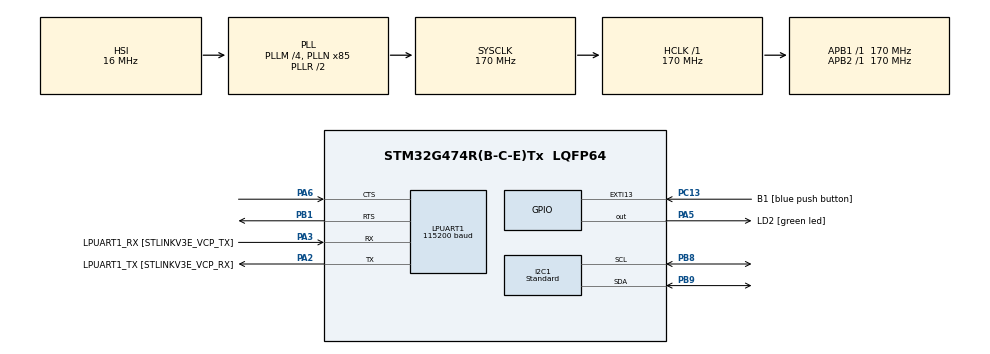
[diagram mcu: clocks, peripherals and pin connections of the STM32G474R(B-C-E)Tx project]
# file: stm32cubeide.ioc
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FREERTOS.Tasks01=defaultTask,24,1024,StartDefaultTask,Default,NULL,Dynamic,NULL,NULL
FREERTOS.configCHECK_FOR_STACK_OVERFLOW=2
FREERTOS.configMINIMAL_STACK_SIZE=512
FREERTOS.configTICK_RATE_HZ=1000
FREERTOS.configTOTAL_HEAP_SIZE=25534
FREERTOS.configUSE_MALLOC_FAILED_HOOK=1
FREERTOS.configUSE_NEWLIB_REENTRANT=1
I2C1.I2C_Speed_Mode=I2C_Standard
I2C1.Timing=0x30A0A7FB
LPUART1.BaudRate=115200
LPUART1.Parity=UART_PARITY_ODD
LPUART1.WordLength=UART_WORDLENGTH_9B
Mcu.Family=STM32G4
Mcu.Name=STM32G474R(B-C-E)Tx
Mcu.Package=LQFP64
NVIC.EXTI15_10_IRQn=true\:5\:0\:false\:false\:true\:true\:true\:true\:true
NVIC.I2C1_ER_IRQn=true\:5\:0\:false\:false\:true\:true\:true\:true\:true
NVIC.I2C1_EV_IRQn=true\:5\:0\:false\:false\:true\:true\:true\:true\:true
NVIC.LPUART1_IRQn=true\:5\:0\:false\:false\:true\:true\:true\:true\:true
NVIC.PriorityGroup=NVIC_PRIORITYGROUP_4
NVIC.TIM1_UP_TIM16_IRQn=true\:15\:0\:false\:false\:true\:false\:false\:true\:true
NVIC.TimeBase=TIM1_UP_TIM16_IRQn
NVIC.TimeBaseIP=TIM1
PA2.GPIO_Label=LPUART1_TX [STLINKV3E_VCP_RX]
PA2.Mode=Asynchronous
PA2.Signal=LPUART1_TX
PA3.GPIO_Label=LPUART1_RX [STLINKV3E_VCP_TX]
PA3.Mode=Asynchronous
PA3.Signal=LPUART1_RX
PA5.GPIO_Label=LD2 [green led]
PA5.Signal=GPIO_Output
PA6.Mode=CTS_RTS
PA6.Signal=LPUART1_CTS
PB1.Mode=CTS_RTS
PB1.Signal=LPUART1_RTS
PB8-BOOT0.GPIO_Pu=GPIO_NOPULL
PB8-BOOT0.GPIO_Speed=GPIO_SPEED_FREQ_HIGH
PB8-BOOT0.Mode=I2C
PB8-BOOT0.Signal=I2C1_SCL
PB9.GPIO_Pu=GPIO_NOPULL
PB9.GPIO_Speed=GPIO_SPEED_FREQ_HIGH
PB9.Mode=I2C
PB9.Signal=I2C1_SDA
PC13.GPIO_Label=B1 [blue push button]
PC13.GPIO_ModeDefaultEXTI=GPIO_MODE_IT_FALLING
PC13.Signal=GPXTI13
PC14-OSC32_IN.Mode=LSE-External-Oscillator
PC14-OSC32_IN.Signal=RCC_OSC32_IN
PC15-OSC32_OUT.Mode=LSE-External-Oscillator
PC15-OSC32_OUT.Signal=RCC_OSC32_OUT
PF0-OSC_IN.Mode=HSE-External-Oscillator
PF0-OSC_IN.Signal=RCC_OSC_IN
PF1-OSC_OUT.Mode=HSE-External-Oscillator
PF1-OSC_OUT.Signal=RCC_OSC_OUT
ProjectManager.HeapSize=0x200
ProjectManager.StackSize=0x400
ProjectManager.TargetToolchain=STM32CubeIDE
RCC.ADC12Freq_Value=170000000
RCC.ADC345Freq_Value=170000000
RCC.AHBFreq_Value=170000000
RCC.APB1Freq_Value=170000000
RCC.APB1TimFreq_Value=170000000
RCC.APB2Freq_Value=170000000
RCC.APB2TimFreq_Value=170000000
RCC.CortexFreq_Value=170000000
RCC.EXTERNAL_CLOCK_VALUE=12288000
RCC.HCLKFreq_Value=170000000
RCC.HSE_VALUE=24000000
RCC.HSI48_VALUE=48000000
RCC.HSI_VALUE=16000000
RCC.PLLM=RCC_PLLM_DIV4
RCC.PLLN=85
RCC.RTCClockSelection=RCC_RTCCLKSOURCE_LSE
RCC.SYSCLKFreq_VALUE=170000000
RCC.SYSCLKSource=RCC_SYSCLKSOURCE_PLLCLK
RCC.USBFreq_Value=170000000
RCC.VCOOutputFreq_Value=340000000
VP_CRC_VS_CRC.Mode=CRC_Activate
VP_FREERTOS_VS_CMSIS_V2.Mode=CMSIS_V2
VP_RTC_VS_RTC_Activate.Mode=RTC_Enabled
VP_RTC_VS_RTC_Calendar.Mode=RTC_Calendar
VP_SYS_VS_DBSignals.Mode=DisableDeadBatterySignals
VP_SYS_VS_tim1.Mode=TIM1
board=NUCLEO-G474RE

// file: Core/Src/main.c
/* USER CODE BEGIN Header */
/**
  ******************************************************************************
  * @file           : main.c
  * @brief          : Main program body
  ******************************************************************************
  * @attention
  *
  * Copyright (c) 2023 STMicroelectronics.
  * All rights reserved.
  *
  * This software is licensed under terms that can be found in the LICENSE file
  * in the root directory of this software component.
  * If no LICENSE file comes with this software, it is provided AS-IS.
  *
  ******************************************************************************
  */
/* USER CODE END Header */
#include "main.h"
#include "cmsis_os.h"

/* USER CODE BEGIN Includes */
#include "hhg/main.h"
#include "stm32g4xx/driver-lpuart.h"
#include "stm32g4xx_nucleo.h"

#include <stdlib.h>

/* USER CODE END Includes */

/* USER CODE BEGIN PM */
#ifdef __GNUC__
/* With GCC/RAISONANCE, small printf (option LD Linker->Libraries->Small printf
   set to 'Yes') calls __io_putchar() */
#define PUTCHAR_PROTOTYPE int __io_putchar(int ch)
#else
#define PUTCHAR_PROTOTYPE int fputc(int ch, FILE *f)
#endif /* __GNUC__ */
/* USER CODE END PM */

CRC_HandleTypeDef hcrc;

I2C_HandleTypeDef hi2c1;

UART_HandleTypeDef hlpuart1;

RTC_HandleTypeDef hrtc;

/* Definitions for defaultTask */
osThreadId_t defaultTaskHandle;
const osThreadAttr_t defaultTask_attributes = {
  .name = "defaultTask",
  .priority = (osPriority_t) osPriorityNormal,
  .stack_size = 1024 * 4
};

void SystemClock_Config(void);
static void MX_GPIO_Init(void);
static void MX_LPUART1_UART_Init(void);
static void MX_CRC_Init(void);
static void MX_RTC_Init(void);
static void MX_I2C1_Init(void);
void StartDefaultTask(void *argument);

/* USER CODE BEGIN 0 */
extern void osal_us_sleep(uint64_t us);
/* USER CODE END 0 */

int main(void)
{

  /* MCU Configuration--------------------------------------------------------*/

  /* Reset of all peripherals, Initializes the Flash interface and the Systick. */
  HAL_Init();

  /* Configure the system clock */
  SystemClock_Config();

  /* Initialize all configured peripherals */
  MX_GPIO_Init();
  MX_LPUART1_UART_Init();
  MX_CRC_Init();
  MX_RTC_Init();
  MX_I2C1_Init();
  /* USER CODE BEGIN 2 */
  BSP_LED_Init(LED2);
  driver_lpuart_register(&hlpuart1);

  //HAL_Delay(100);

//  i2cLcd_CreateHandle(&h_lcd, &hi2c1, 0x27 << 1);
//
//  i2cLcd_Init(&h_lcd);
//
//  i2cLcd_ClearDisplay(&h_lcd);

  /* USER CODE END 2 */

  /* Init scheduler */
  osKernelInitialize();

  /* Create the thread(s) */
  /* creation of defaultTask */
  defaultTaskHandle = osThreadNew(StartDefaultTask, NULL, &defaultTask_attributes);

  /* Start scheduler */
  HAL_Delay(1000);
  osKernelStart();

  /* We should never get here as control is now taken by the scheduler */
  /* Infinite loop */
  while (1)
  {

  }
}

void SystemClock_Config(void)
{
  RCC_OscInitTypeDef RCC_OscInitStruct = {0};
  RCC_ClkInitTypeDef RCC_ClkInitStruct = {0};

  /** Configure the main internal regulator output voltage
  */
  HAL_PWREx_ControlVoltageScaling(PWR_REGULATOR_VOLTAGE_SCALE1_BOOST);

  /** Configure LSE Drive Capability
  */
  HAL_PWR_EnableBkUpAccess();
  __HAL_RCC_LSEDRIVE_CONFIG(RCC_LSEDRIVE_LOW);

  /** Initializes the RCC Oscillators according to the specified parameters
  * in the RCC_OscInitTypeDef structure.
  */
  RCC_OscInitStruct.OscillatorType = RCC_OSCILLATORTYPE_HSI|RCC_OSCILLATORTYPE_LSE;
  RCC_OscInitStruct.LSEState = RCC_LSE_ON;
  RCC_OscInitStruct.HSIState = RCC_HSI_ON;
  RCC_OscInitStruct.HSICalibrationValue = RCC_HSICALIBRATION_DEFAULT;
  RCC_OscInitStruct.PLL.PLLState = RCC_PLL_ON;
  RCC_OscInitStruct.PLL.PLLSource = RCC_PLLSOURCE_HSI;
  RCC_OscInitStruct.PLL.PLLM = RCC_PLLM_DIV4;
  RCC_OscInitStruct.PLL.PLLN = 85;
  RCC_OscInitStruct.PLL.PLLP = RCC_PLLP_DIV2;
  RCC_OscInitStruct.PLL.PLLQ = RCC_PLLQ_DIV2;
  RCC_OscInitStruct.PLL.PLLR = RCC_PLLR_DIV2;
  if (HAL_RCC_OscConfig(&RCC_OscInitStruct) != HAL_OK)
  {
    Error_Handler();
  }

  /** Initializes the CPU, AHB and APB buses clocks
  */
  RCC_ClkInitStruct.ClockType = RCC_CLOCKTYPE_HCLK|RCC_CLOCKTYPE_SYSCLK
                              |RCC_CLOCKTYPE_PCLK1|RCC_CLOCKTYPE_PCLK2;
  RCC_ClkInitStruct.SYSCLKSource = RCC_SYSCLKSOURCE_PLLCLK;
  RCC_ClkInitStruct.AHBCLKDivider = RCC_SYSCLK_DIV1;
  RCC_ClkInitStruct.APB1CLKDivider = RCC_HCLK_DIV1;
  RCC_ClkInitStruct.APB2CLKDivider = RCC_HCLK_DIV1;

  if (HAL_RCC_ClockConfig(&RCC_ClkInitStruct, FLASH_LATENCY_4) != HAL_OK)
  {
    Error_Handler();
  }
}

static void MX_CRC_Init(void)
{

  hcrc.Instance = CRC;
  hcrc.Init.DefaultPolynomialUse = DEFAULT_POLYNOMIAL_ENABLE;
  hcrc.Init.DefaultInitValueUse = DEFAULT_INIT_VALUE_ENABLE;
  hcrc.Init.InputDataInversionMode = CRC_INPUTDATA_INVERSION_NONE;
  hcrc.Init.OutputDataInversionMode = CRC_OUTPUTDATA_INVERSION_DISABLE;
  hcrc.InputDataFormat = CRC_INPUTDATA_FORMAT_BYTES;
  if (HAL_CRC_Init(&hcrc) != HAL_OK)
  {
    Error_Handler();
  }

}

static void MX_I2C1_Init(void)
{

  hi2c1.Instance = I2C1;
  hi2c1.Init.Timing = 0x30A0A7FB;
  hi2c1.Init.OwnAddress1 = 0;
  hi2c1.Init.AddressingMode = I2C_ADDRESSINGMODE_7BIT;
  hi2c1.Init.DualAddressMode = I2C_DUALADDRESS_DISABLE;
  hi2c1.Init.OwnAddress2 = 0;
  hi2c1.Init.OwnAddress2Masks = I2C_OA2_NOMASK;
  hi2c1.Init.GeneralCallMode = I2C_GENERALCALL_DISABLE;
  hi2c1.Init.NoStretchMode = I2C_NOSTRETCH_DISABLE;
  if (HAL_I2C_Init(&hi2c1) != HAL_OK)
  {
    Error_Handler();
  }

  /** Configure Analogue filter
  */
  if (HAL_I2CEx_ConfigAnalogFilter(&hi2c1, I2C_ANALOGFILTER_ENABLE) != HAL_OK)
  {
    Error_Handler();
  }

  /** Configure Digital filter
  */
  if (HAL_I2CEx_ConfigDigitalFilter(&hi2c1, 0) != HAL_OK)
  {
    Error_Handler();
  }

}

static void MX_LPUART1_UART_Init(void)
{

  hlpuart1.Instance = LPUART1;
  hlpuart1.Init.BaudRate = 115200;
  hlpuart1.Init.WordLength = UART_WORDLENGTH_9B;
  hlpuart1.Init.StopBits = UART_STOPBITS_1;
  hlpuart1.Init.Parity = UART_PARITY_ODD;
  hlpuart1.Init.Mode = UART_MODE_TX_RX;
  hlpuart1.Init.HwFlowCtl = UART_HWCONTROL_RTS_CTS;
  hlpuart1.Init.OneBitSampling = UART_ONE_BIT_SAMPLE_DISABLE;
  hlpuart1.Init.ClockPrescaler = UART_PRESCALER_DIV1;
  hlpuart1.AdvancedInit.AdvFeatureInit = UART_ADVFEATURE_NO_INIT;
  if (HAL_UART_Init(&hlpuart1) != HAL_OK)
  {
    Error_Handler();
  }
  if (HAL_UARTEx_SetTxFifoThreshold(&hlpuart1, UART_TXFIFO_THRESHOLD_1_8) != HAL_OK)
  {
    Error_Handler();
  }
  if (HAL_UARTEx_SetRxFifoThreshold(&hlpuart1, UART_RXFIFO_THRESHOLD_1_8) != HAL_OK)
  {
    Error_Handler();
  }
  if (HAL_UARTEx_DisableFifoMode(&hlpuart1) != HAL_OK)
  {
    Error_Handler();
  }

}

static void MX_RTC_Init(void)
{

  RTC_TimeTypeDef sTime = {0};
  RTC_DateTypeDef sDate = {0};

  /** Initialize RTC Only
  */
  hrtc.Instance = RTC;
  hrtc.Init.HourFormat = RTC_HOURFORMAT_24;
  hrtc.Init.AsynchPrediv = 127;
  hrtc.Init.SynchPrediv = 255;
  hrtc.Init.OutPut = RTC_OUTPUT_DISABLE;
  hrtc.Init.OutPutRemap = RTC_OUTPUT_REMAP_NONE;
  hrtc.Init.OutPutPolarity = RTC_OUTPUT_POLARITY_HIGH;
  hrtc.Init.OutPutType = RTC_OUTPUT_TYPE_OPENDRAIN;
  hrtc.Init.OutPutPullUp = RTC_OUTPUT_PULLUP_NONE;
  if (HAL_RTC_Init(&hrtc) != HAL_OK)
  {
    Error_Handler();
  }

  /** Initialize RTC and set the Time and Date
  */
  sTime.Hours = 0x0;
  sTime.Minutes = 0x0;
  sTime.Seconds = 0x0;
  sTime.SubSeconds = 0x0;
  sTime.DayLightSaving = RTC_DAYLIGHTSAVING_NONE;
  sTime.StoreOperation = RTC_STOREOPERATION_RESET;
  if (HAL_RTC_SetTime(&hrtc, &sTime, RTC_FORMAT_BCD) != HAL_OK)
  {
    Error_Handler();
  }
  sDate.WeekDay = RTC_WEEKDAY_MONDAY;
  sDate.Month = RTC_MONTH_JANUARY;
  sDate.Date = 0x1;
  sDate.Year = 0x0;

  if (HAL_RTC_SetDate(&hrtc, &sDate, RTC_FORMAT_BCD) != HAL_OK)
  {
    Error_Handler();
  }

}

static void MX_GPIO_Init(void)
{
  GPIO_InitTypeDef GPIO_InitStruct = {0};

  /* GPIO Ports Clock Enable */
  __HAL_RCC_GPIOC_CLK_ENABLE();
  __HAL_RCC_GPIOF_CLK_ENABLE();
  __HAL_RCC_GPIOA_CLK_ENABLE();
  __HAL_RCC_GPIOB_CLK_ENABLE();

  /*Configure GPIO pin Output Level */
  HAL_GPIO_WritePin(LD2_GPIO_Port, LD2_Pin, GPIO_PIN_RESET);

  /*Configure GPIO pin : B1_Pin */
  GPIO_InitStruct.Pin = B1_Pin;
  GPIO_InitStruct.Mode = GPIO_MODE_IT_FALLING;
  GPIO_InitStruct.Pull = GPIO_NOPULL;
  HAL_GPIO_Init(B1_GPIO_Port, &GPIO_InitStruct);

  /*Configure GPIO pin : LD2_Pin */
  GPIO_InitStruct.Pin = LD2_Pin;
  GPIO_InitStruct.Mode = GPIO_MODE_OUTPUT_PP;
  GPIO_InitStruct.Pull = GPIO_NOPULL;
  GPIO_InitStruct.Speed = GPIO_SPEED_FREQ_LOW;
  HAL_GPIO_Init(LD2_GPIO_Port, &GPIO_InitStruct);

  /* EXTI interrupt init*/
  HAL_NVIC_SetPriority(EXTI15_10_IRQn, 5, 0);
  HAL_NVIC_EnableIRQ(EXTI15_10_IRQn);

}

/* USER CODE BEGIN 4 */
/**
  * @brief  Retargets the C library printf function to the USART.
  * @param  None
  * @retval None
  */
PUTCHAR_PROTOTYPE
{
	/* Place your implementation of fputc here */
	/* e.g. write a character to the USART1 and Loop until the end of transmission */
	driver_lpuart_transmit((uint8_t *)&ch, 1);
	return ch;
}
/* USER CODE END 4 */

void StartDefaultTask(void *argument)
{
  /* USER CODE BEGIN 5 */
	if(hhg_main() == EXIT_FAILURE)
	{
		Error_Handler();
	}

//	while(1)
//	{
//		vTaskDelay(250 / portTICK_PERIOD_MS);
//	}
	vTaskDelete(NULL);
  /* USER CODE END 5 */
}

void HAL_TIM_PeriodElapsedCallback(TIM_HandleTypeDef *htim)
{
  if (htim->Instance == TIM1) {
    HAL_IncTick();
  }
}

void Error_Handler(void)
{
  /* USER CODE BEGIN Error_Handler_Debug */
  /* User can add his own implementation to report the HAL error return state */
  __disable_irq();
  while (1)
  {
		BSP_LED_Toggle(LED2);
		HAL_Delay(250);
  }
  /* USER CODE END Error_Handler_Debug */
}

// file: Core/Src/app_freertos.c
/* USER CODE BEGIN Header */
/**
  ******************************************************************************
  * File Name          : app_freertos.c
  * Description        : Code for freertos applications
  ******************************************************************************
  * @attention
  *
  * Copyright (c) 2023 STMicroelectronics.
  * All rights reserved.
  *
  * This software is licensed under terms that can be found in the LICENSE file
  * in the root directory of this software component.
  * If no LICENSE file comes with this software, it is provided AS-IS.
  *
  ******************************************************************************
  */
/* USER CODE END Header */

#include "FreeRTOS.h"
#include "task.h"
#include "main.h"

/* Hook prototypes */
void vApplicationStackOverflowHook(xTaskHandle xTask, signed char *pcTaskName);
void vApplicationMallocFailedHook(void);

/* USER CODE BEGIN 4 */
void vApplicationStackOverflowHook(xTaskHandle xTask, signed char *pcTaskName)
{
   /* Run time stack overflow checking is performed if
   configCHECK_FOR_STACK_OVERFLOW is defined to 1 or 2. This hook function is
   called if a stack overflow is detected. */
}
/* USER CODE END 4 */

/* USER CODE BEGIN 5 */
void vApplicationMallocFailedHook(void)
{
   /* vApplicationMallocFailedHook() will only be called if
   configUSE_MALLOC_FAILED_HOOK is set to 1 in FreeRTOSConfig.h. It is a hook
   function that will get called if a call to pvPortMalloc() fails.
   pvPortMalloc() is called internally by the kernel whenever a task, queue,
   timer or semaphore is created. It is also called by various parts of the
   demo application. If heap_1.c or heap_2.c are used, then the size of the
   heap available to pvPortMalloc() is defined by configTOTAL_HEAP_SIZE in
   FreeRTOSConfig.h, and the xPortGetFreeHeapSize() API function can be used
   to query the size of free heap space that remains (although it does not
   provide information on how the remaining heap might be fragmented). */
}
/* USER CODE END 5 */
